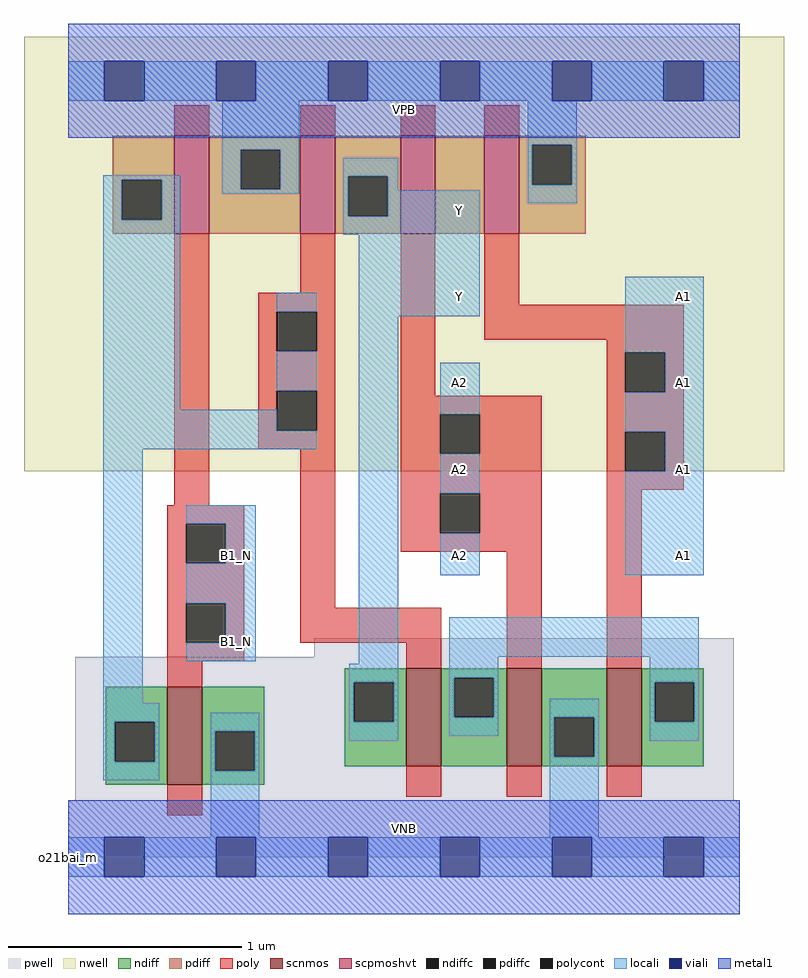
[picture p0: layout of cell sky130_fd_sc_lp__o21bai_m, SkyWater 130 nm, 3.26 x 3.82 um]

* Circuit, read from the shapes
.subckt sky130_fd_sc_lp__o21bai_m A1 A2 B1_N VGND VNB VPB VPWR Y
XM1 VGND B1_N n1 VNB sky130_fd_pr__nfet_01v8 w=0.42 l=0.15
XM2 n2 n1 Y VNB sky130_fd_pr__nfet_01v8 w=0.42 l=0.15
XM3 VGND A2 n2 VNB sky130_fd_pr__nfet_01v8 w=0.42 l=0.15
XM4 n2 A1 VGND VNB sky130_fd_pr__nfet_01v8 w=0.42 l=0.15
XM5 VPWR B1_N n1 VPB sky130_fd_pr__pfet_01v8_hvt w=0.42 l=0.15
XM6 Y n1 VPWR VPB sky130_fd_pr__pfet_01v8_hvt w=0.42 l=0.15
XM7 n3 A2 Y VPB sky130_fd_pr__pfet_01v8_hvt w=0.42 l=0.15
XM8 VPWR A1 n3 VPB sky130_fd_pr__pfet_01v8_hvt w=0.42 l=0.15
.ends

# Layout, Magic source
magic
tech sky130A
magscale 1 2
<< nwell >>
rect -38 331 614 704
<< pwell >>
rect 211 172 571 188
rect 6 49 571 172
rect 0 0 576 49
<< scnmos >>
rect 85 62 115 146
rect 290 78 320 162
rect 376 78 406 162
rect 462 78 492 162
<< scpmoshvt >>
rect 91 535 121 619
rect 199 535 229 619
rect 285 535 315 619
rect 357 535 387 619
<< ndiff >>
rect 237 150 290 162
rect 32 116 85 146
rect 32 82 40 116
rect 74 82 85 116
rect 32 62 85 82
rect 115 108 168 146
rect 115 74 126 108
rect 160 74 168 108
rect 237 116 245 150
rect 279 116 290 150
rect 237 78 290 116
rect 320 154 376 162
rect 320 120 331 154
rect 365 120 376 154
rect 320 78 376 120
rect 406 120 462 162
rect 406 86 417 120
rect 451 86 462 120
rect 406 78 462 86
rect 492 150 545 162
rect 492 116 503 150
rect 537 116 545 150
rect 492 78 545 116
rect 115 62 168 74
<< pdiff >>
rect 38 581 91 619
rect 38 547 46 581
rect 80 547 91 581
rect 38 535 91 547
rect 121 607 199 619
rect 121 573 148 607
rect 182 573 199 607
rect 121 535 199 573
rect 229 584 285 619
rect 229 550 240 584
rect 274 550 285 584
rect 229 535 285 550
rect 315 535 357 619
rect 387 611 444 619
rect 387 577 398 611
rect 432 577 444 611
rect 387 535 444 577
<< ndiffc >>
rect 40 82 74 116
rect 126 74 160 108
rect 245 116 279 150
rect 331 120 365 154
rect 417 86 451 120
rect 503 116 537 150
<< pdiffc >>
rect 46 547 80 581
rect 148 573 182 607
rect 240 550 274 584
rect 398 577 432 611
<< poly >>
rect 91 619 121 645
rect 199 619 229 645
rect 285 619 315 645
rect 357 619 387 645
rect 91 302 121 535
rect 199 484 229 535
rect 163 468 229 484
rect 163 434 179 468
rect 213 434 229 468
rect 163 400 229 434
rect 163 366 179 400
rect 213 366 229 400
rect 163 350 229 366
rect 85 286 151 302
rect 85 252 101 286
rect 135 252 151 286
rect 85 218 151 252
rect 85 184 101 218
rect 135 184 151 218
rect 199 214 229 350
rect 285 396 315 535
rect 357 474 387 535
rect 357 444 528 474
rect 462 433 528 444
rect 462 399 478 433
rect 512 399 528 433
rect 285 380 406 396
rect 285 346 319 380
rect 353 346 406 380
rect 285 312 406 346
rect 285 278 319 312
rect 353 278 406 312
rect 285 262 406 278
rect 199 184 320 214
rect 85 168 151 184
rect 85 146 115 168
rect 290 162 320 184
rect 376 162 406 262
rect 462 365 528 399
rect 462 331 478 365
rect 512 331 528 365
rect 462 315 528 331
rect 462 162 492 315
rect 85 36 115 62
rect 290 52 320 78
rect 376 52 406 78
rect 462 52 492 78
<< polycont >>
rect 179 434 213 468
rect 179 366 213 400
rect 101 252 135 286
rect 101 184 135 218
rect 478 399 512 433
rect 319 346 353 380
rect 319 278 353 312
rect 478 331 512 365
<< locali >>
rect 0 649 31 683
rect 65 649 127 683
rect 161 649 223 683
rect 257 649 319 683
rect 353 649 415 683
rect 449 649 511 683
rect 545 649 576 683
rect 132 607 198 649
rect 30 581 96 585
rect 30 547 46 581
rect 80 547 96 581
rect 132 573 148 607
rect 182 573 198 607
rect 394 611 436 649
rect 132 569 198 573
rect 236 584 283 600
rect 30 384 96 547
rect 236 550 240 584
rect 274 572 283 584
rect 394 577 398 611
rect 432 577 436 611
rect 274 550 353 572
rect 394 561 436 577
rect 236 534 353 550
rect 179 468 213 484
rect 179 400 213 434
rect 30 366 179 384
rect 30 350 213 366
rect 249 464 353 534
rect 30 132 64 350
rect 101 286 161 302
rect 135 252 161 286
rect 101 218 161 252
rect 135 184 161 218
rect 101 168 161 184
rect 249 166 283 464
rect 478 433 545 498
rect 319 380 353 424
rect 319 312 353 346
rect 319 242 353 278
rect 512 399 545 433
rect 478 365 545 399
rect 512 331 545 365
rect 478 242 545 331
rect 241 150 283 166
rect 30 116 78 132
rect 30 82 40 116
rect 74 82 78 116
rect 30 66 78 82
rect 122 108 164 124
rect 122 74 126 108
rect 160 74 164 108
rect 241 116 245 150
rect 279 116 283 150
rect 241 100 283 116
rect 327 172 541 206
rect 327 154 369 172
rect 327 120 331 154
rect 365 120 369 154
rect 499 150 541 172
rect 327 104 369 120
rect 413 120 455 136
rect 122 17 164 74
rect 413 86 417 120
rect 451 86 455 120
rect 499 116 503 150
rect 537 116 541 150
rect 499 100 541 116
rect 413 17 455 86
rect 0 -17 31 17
rect 65 -17 127 17
rect 161 -17 223 17
rect 257 -17 319 17
rect 353 -17 415 17
rect 449 -17 511 17
rect 545 -17 576 17
<< viali >>
rect 31 649 65 683
rect 127 649 161 683
rect 223 649 257 683
rect 319 649 353 683
rect 415 649 449 683
rect 511 649 545 683
rect 31 -17 65 17
rect 127 -17 161 17
rect 223 -17 257 17
rect 319 -17 353 17
rect 415 -17 449 17
rect 511 -17 545 17
<< metal1 >>
rect 0 683 576 715
rect 0 649 31 683
rect 65 649 127 683
rect 161 649 223 683
rect 257 649 319 683
rect 353 649 415 683
rect 449 649 511 683
rect 545 649 576 683
rect 0 617 576 649
rect 0 17 576 49
rect 0 -17 31 17
rect 65 -17 127 17
rect 161 -17 223 17
rect 257 -17 319 17
rect 353 -17 415 17
rect 449 -17 511 17
rect 545 -17 576 17
rect 0 -49 576 -17
<< labels >>
flabel pwell s 0 0 576 49 0 FreeSans 200 0 0 0 VNB
port 5 nsew ground bidirectional
flabel nwell s 0 617 576 666 0 FreeSans 200 0 0 0 VPB
port 6 nsew power bidirectional
rlabel comment s 0 0 0 0 4 o21bai_m
flabel metal1 s 0 617 576 666 0 FreeSans 340 0 0 0 VPWR
port 7 nsew power bidirectional
flabel metal1 s 0 0 576 49 0 FreeSans 340 0 0 0 VGND
port 4 nsew ground bidirectional
flabel locali s 511 242 545 276 0 FreeSans 340 0 0 0 A1
port 1 nsew signal input
flabel locali s 511 316 545 350 0 FreeSans 340 0 0 0 A1
port 1 nsew signal input
flabel locali s 511 390 545 424 0 FreeSans 340 0 0 0 A1
port 1 nsew signal input
flabel locali s 511 464 545 498 0 FreeSans 340 0 0 0 A1
port 1 nsew signal input
flabel locali s 319 242 353 276 0 FreeSans 340 0 0 0 A2
port 2 nsew signal input
flabel locali s 319 316 353 350 0 FreeSans 340 0 0 0 A2
port 2 nsew signal input
flabel locali s 319 390 353 424 0 FreeSans 340 0 0 0 A2
port 2 nsew signal input
flabel locali s 319 464 353 498 0 FreeSans 340 0 0 0 Y
port 8 nsew signal output
flabel locali s 319 538 353 572 0 FreeSans 340 0 0 0 Y
port 8 nsew signal output
flabel locali s 127 168 161 202 0 FreeSans 340 0 0 0 B1_N
port 3 nsew signal input
flabel locali s 127 242 161 276 0 FreeSans 340 0 0 0 B1_N
port 3 nsew signal input
<< properties >>
string LEFsite unit
string LEFclass CORE
string FIXED_BBOX 0 0 576 666
string GDS_FILE $PDKPATH/libs.ref/sky130_fd_sc_lp/gds/sky130_fd_sc_lp.gds
string LEFsymmetry X Y R90
string GDS_END 5195016
string GDS_START 5188972
<< end >>
